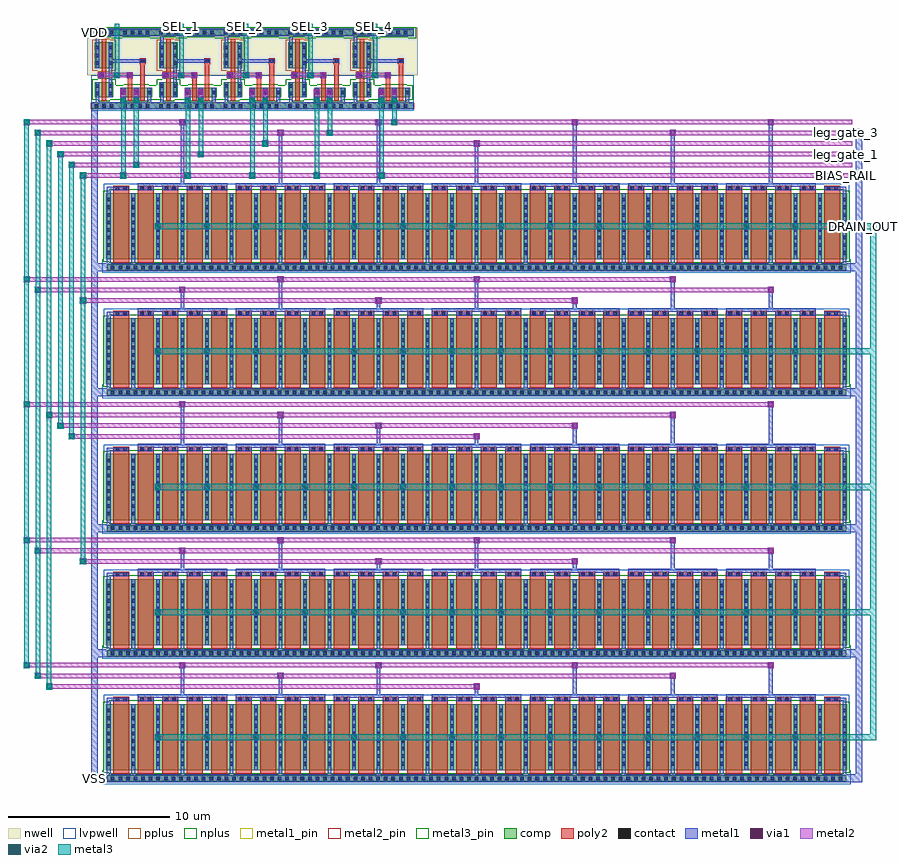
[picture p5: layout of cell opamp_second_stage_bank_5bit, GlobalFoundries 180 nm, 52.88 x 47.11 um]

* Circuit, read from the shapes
.subckt opamp_second_stage_bank_5bit BIAS_RAIL DRAIN_OUT SEL_0 SEL_1 SEL_2 SEL_3 SEL_4 VDD VSS leg_gate_0 leg_gate_1 leg_gate_2 leg_gate_3 leg_gate_4
XM1 switch_nmos_gate_select_4/sel_b SEL_0 VSS VSS nfet_03v3 w=0.95u l=0.28u
XM2 VSS VSS VSS VSS nfet_03v3 w=4.1u l=1u m=10
XM3 leg_gate_0 SEL_0 BIAS_RAIL VSS nfet_03v3 w=0.6u l=0.28u
XM4 DRAIN_OUT leg_gate_4 VSS VSS nfet_03v3 w=4.1u l=1u m=64
XM5 DRAIN_OUT leg_gate_3 VSS VSS nfet_03v3 w=4.1u l=1u m=32
XM6 VSS switch_nmos_gate_select_4/sel_b leg_gate_0 VSS nfet_03v3 w=0.6u l=0.28u
XM7 switch_nmos_gate_select_3/sel_b SEL_1 VSS VSS nfet_03v3 w=0.95u l=0.28u
XM8 leg_gate_1 SEL_1 BIAS_RAIL VSS nfet_03v3 w=0.6u l=0.28u
XM9 VSS switch_nmos_gate_select_3/sel_b leg_gate_1 VSS nfet_03v3 w=0.6u l=0.28u
XM10 switch_nmos_gate_select_2/sel_b SEL_2 VSS VSS nfet_03v3 w=0.95u l=0.28u
XM11 DRAIN_OUT leg_gate_2 VSS VSS nfet_03v3 w=4.1u l=1u m=16
XM12 leg_gate_2 SEL_2 BIAS_RAIL VSS nfet_03v3 w=0.6u l=0.28u
XM13 VSS switch_nmos_gate_select_2/sel_b leg_gate_2 VSS nfet_03v3 w=0.6u l=0.28u
XM14 switch_nmos_gate_select_1/sel_b SEL_3 VSS VSS nfet_03v3 w=0.95u l=0.28u
XM15 leg_gate_3 SEL_3 BIAS_RAIL VSS nfet_03v3 w=0.6u l=0.28u
XM16 DRAIN_OUT BIAS_RAIL VSS VSS nfet_03v3 w=4.1u l=1u m=16
XM17 DRAIN_OUT leg_gate_1 VSS VSS nfet_03v3 w=4.1u l=1u m=8
XM18 VSS switch_nmos_gate_select_1/sel_b leg_gate_3 VSS nfet_03v3 w=0.6u l=0.28u
XM19 switch_nmos_gate_select_0/sel_b SEL_4 VSS VSS nfet_03v3 w=0.95u l=0.28u
XM20 leg_gate_4 SEL_4 BIAS_RAIL VSS nfet_03v3 w=0.6u l=0.28u
XM21 VSS switch_nmos_gate_select_0/sel_b leg_gate_4 VSS nfet_03v3 w=0.6u l=0.28u
XM22 DRAIN_OUT leg_gate_0 VSS VSS nfet_03v3 w=4.1u l=1u m=4
XM23 switch_nmos_gate_select_4/sel_b SEL_0 VDD VDD pfet_03v3 w=1.6u l=0.28u
XM24 switch_nmos_gate_select_3/sel_b SEL_1 VDD VDD pfet_03v3 w=1.6u l=0.28u
XM25 switch_nmos_gate_select_2/sel_b SEL_2 VDD VDD pfet_03v3 w=1.6u l=0.28u
XM26 switch_nmos_gate_select_1/sel_b SEL_3 VDD VDD pfet_03v3 w=1.6u l=0.28u
XM27 switch_nmos_gate_select_0/sel_b SEL_4 VDD VDD pfet_03v3 w=1.6u l=0.28u
.ends

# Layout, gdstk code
import gdstk
lib = gdstk.Library(unit=1e-6, precision=1e-09)
def R(c, l, rs):  # rectangles x0, y0, x1, y1
    for r in rs: c.add(gdstk.rectangle(r[:2], r[2:], *l))
def A(c, l, x, y, w, h, nx, ny, dx, dy):  # array of equal rectangles
    R(c, l, [(x+i*dx, y+j*dy, x+i*dx+w, y+j*dy+h) for i in range(nx) for j in range(ny)])
nwell = (21, 0)
comp = (22, 0)
poly2 = (30, 0)
pplus = (31, 0)
nplus = (32, 0)
contact = (33, 0)
metal1 = (34, 0)
metal1_pin = (34, 10)
via1 = (35, 0)
metal2 = (36, 0)
metal2_pin = (36, 10)
via2 = (38, 0)
metal3 = (42, 0)
metal3_pin = (42, 10)
lvpwell = (204, 0)

logic_inverter_1x = lib.new_cell('logic_inverter_1x')
R(logic_inverter_1x, nwell, [(-0.25,2.13,1.85,5.07)])
R(logic_inverter_1x, comp, [(0,0.05,1.6,0.41), (0.22,0.75,1.38,1.7), (0.22,2.56,1.38,4.16), (0,4.59,1.6,4.95)])
R(logic_inverter_1x, poly2, [(0.66,0.53,0.94,1.95), (0.42,1.95,0.94,2.31), (0.66,2.31,0.94,4.38)])
R(logic_inverter_1x, pplus, [(0.105,0.02,1.495,0.03), (-0.02,0.03,1.62,0.43), (0.105,0.43,1.495,0.44), (0.43,2.33,1.17,2.4), (0.06,2.4,1.54,4.32), (0.43,4.32,1.17,4.39)])
R(logic_inverter_1x, nplus, [(0.43,0.52,1.17,0.59), (0.06,0.59,1.54,1.86), (0.43,1.86,1.17,1.93), (-0.16,4.43,0.34,4.48), (1.26,4.43,1.76,4.48), (-0.16,4.48,1.76,5.11)])
A(logic_inverter_1x, contact, 0.22, 0.12, 0.22, 0.22, 3, 2, 0.47, 4.54)
A(logic_inverter_1x, contact, 0.29, 2.78, 0.22, 0.22, 1, 3, 0, 0.47)
A(logic_inverter_1x, contact, 1.09, 2.78, 0.22, 0.22, 1, 3, 0, 0.47)
R(logic_inverter_1x, contact, [(0.29,0.88,0.51,1.1), (1.09,0.88,1.31,1.1), (0.29,1.35,0.51,1.57), (1.09,1.35,1.31,1.57), (0.49,2.02,0.71,2.24)])
R(logic_inverter_1x, metal1, [(0,0,1.6,0.46), (0.285,0.46,0.515,1.69), (1.085,0.76,1.315,4.15), (0.42,1.94,0.8,2.32), (0.285,2.57,0.515,4.54), (0,4.54,1.6,5)])
R(logic_inverter_1x, metal1_pin, [(0,0,1.6,0.46), (1.085,1.93,1.315,2.33), (0.42,1.94,0.8,2.32), (0,4.54,1.6,5)])
R(logic_inverter_1x, lvpwell, [(0,-0.07,1.6,2.13)])
logic_inverter_1x.add(gdstk.Label('VSS', (0.8,0.23), layer=34, texttype=10))
logic_inverter_1x.add(gdstk.Label('VDD', (0.8,4.77), layer=34, texttype=10))
logic_inverter_1x.add(gdstk.Label('OUT', (1.2,2.13), layer=34, texttype=10))
logic_inverter_1x.add(gdstk.Label('IN', (0.61,2.13), layer=34, texttype=10))

switch_nmos_gate_select = lib.new_cell('switch_nmos_gate_select')
R(switch_nmos_gate_select, nwell, [(1.35,2.13,4.25,5.07)])
R(switch_nmos_gate_select, comp, [(1.6,0.05,4,0.41), (1.82,0.75,3.78,1.35), (1.6,4.59,4,4.95)])
R(switch_nmos_gate_select, poly2, [(2.26,0.53,2.54,1.95), (3.06,0.53,3.34,2.82), (2.22,1.95,2.58,2.31), (3.02,2.82,3.38,3.18)])
R(switch_nmos_gate_select, pplus, [(1.495,0.02,3.895,0.03), (1.58,0.03,4.02,0.43), (1.495,0.43,3.895,0.44)])
R(switch_nmos_gate_select, nplus, [(2.03,0.52,3.57,0.59), (1.54,0.59,3.94,1.51), (2.03,1.51,3.57,1.58), (1.44,4.43,1.94,4.48), (3.66,4.43,4.16,4.48), (1.44,4.48,4.16,5.11)])
A(switch_nmos_gate_select, contact, 1.985, 0.12, 0.22, 0.22, 4, 2, 0.47, 4.54)
A(switch_nmos_gate_select, contact, 1.89, 0.94, 0.22, 0.22, 3, 1, 0.8, 0)
R(switch_nmos_gate_select, contact, [(2.29,2.02,2.51,2.24), (3.09,2.89,3.31,3.11)])
R(switch_nmos_gate_select, metal1, [(1.6,0,4,0.46), (3.485,0.46,3.715,1.34), (1.885,0.76,2.115,0.86), (2.685,0.76,2.915,0.86), (1.81,0.86,2.19,1.24), (2.61,0.86,2.99,1.24), (1.885,1.24,2.115,1.34), (2.685,1.24,2.915,1.34), (0.42,1.94,0.8,2.32), (2.21,1.94,2.59,2.32), (1.085,2.885,3.37,3.115), (1.6,4.54,4,5)])
R(switch_nmos_gate_select, metal1_pin, [(1.6,0,1.8,0.46), (1.6,4.54,1.8,5)])
R(switch_nmos_gate_select, via1, [(1.87,0.92,2.13,1.18), (2.67,0.92,2.93,1.18), (0.48,2,0.74,2.26), (2.27,2,2.53,2.26)])
R(switch_nmos_gate_select, metal2, [(1.81,0.36,2.19,1.24), (2.61,0.36,2.99,1.24), (0.42,1.94,0.8,1.99), (1.41,1.94,1.79,1.99), (2.21,1.94,2.59,1.99), (0.42,1.99,2.59,2.27), (0.42,2.27,0.8,2.32), (1.41,2.27,1.79,2.32), (2.21,2.27,2.59,2.32)])
R(switch_nmos_gate_select, via2, [(1.87,0.42,2.13,0.68), (2.67,0.42,2.93,0.68), (1.47,2,1.73,2.26)])
R(switch_nmos_gate_select, metal3, [(1.81,0.36,2.19,0.74), (2.61,0.36,2.99,0.74), (1.41,1.94,1.79,2.32)])
R(switch_nmos_gate_select, metal3_pin, [(1.81,0.36,2.19,0.74), (2.61,0.36,2.99,0.74), (1.41,1.94,1.79,2.32)])
R(switch_nmos_gate_select, lvpwell, [(1.6,-0.07,4,2.13)])
switch_nmos_gate_select.add(gdstk.Reference(logic_inverter_1x, (0,0)))
switch_nmos_gate_select.add(gdstk.Label('sel_b', (2.4,3), layer=34, texttype=0))
switch_nmos_gate_select.add(gdstk.Label('VSS', (1.7,0.23), layer=34, texttype=10))
switch_nmos_gate_select.add(gdstk.Label('VDD', (1.7,4.77), layer=34, texttype=10))
switch_nmos_gate_select.add(gdstk.Label('SEL', (1.6,2.13), layer=42, texttype=10))
switch_nmos_gate_select.add(gdstk.Label('LEG_GATE', (2.8,0.55), layer=42, texttype=10))
switch_nmos_gate_select.add(gdstk.Label('BIAS_RAIL', (2,0.55), layer=42, texttype=10))

nfet_03v3_7makus = lib.new_cell('nfet_03v3_7MAKUS')
R(nfet_03v3_7makus, comp, [(-22.98,-2.17,22.98,1.93)])
A(nfet_03v3_7makus, poly2, -22.54, -2.39, 1, 4.78, 30, 1, 1.52, 0)
R(nfet_03v3_7makus, nplus, [(-22.77,-2.4,22.77,-2.33), (-23.14,-2.33,23.14,2.09), (-22.77,2.09,22.77,2.16)])
A(nfet_03v3_7makus, contact, -22.91, -1.875, 0.22, 0.22, 31, 8, 1.52, 0.47)
R(nfet_03v3_7makus, contact, [(-22.385,2.1,-22.165,2.32), (-21.915,2.1,-21.695,2.32), (-20.865,2.1,-20.645,2.32), (-20.395,2.1,-20.175,2.32), (-19.345,2.1,-19.125,2.32), (-18.875,2.1,-18.655,2.32), (-17.825,2.1,-17.605,2.32), (-17.355,2.1,-17.135,2.32), (-16.305,2.1,-16.085,2.32), (-15.835,2.1,-15.615,2.32), (-14.785,2.1,-14.565,2.32), (-14.315,2.1,-14.095,2.32), (-13.265,2.1,-13.045,2.32), (-12.795,2.1,-12.575,2.32), (-11.745,2.1,-11.525,2.32), (-11.275,2.1,-11.055,2.32), (-10.225,2.1,-10.005,2.32), (-9.755,2.1,-9.535,2.32), (-8.705,2.1,-8.485,2.32), (-8.235,2.1,-8.015,2.32), (-7.185,2.1,-6.965,2.32), (-6.715,2.1,-6.495,2.32), (-5.665,2.1,-5.445,2.32), (-5.195,2.1,-4.975,2.32), (-4.145,2.1,-3.925,2.32), (-3.675,2.1,-3.455,2.32), (-2.625,2.1,-2.405,2.32), (-2.155,2.1,-1.935,2.32), (-1.105,2.1,-0.885,2.32), (-0.635,2.1,-0.415,2.32), (0.415,2.1,0.635,2.32), (0.885,2.1,1.105,2.32), (1.935,2.1,2.155,2.32), (2.405,2.1,2.625,2.32), (3.455,2.1,3.675,2.32), (3.925,2.1,4.145,2.32), (4.975,2.1,5.195,2.32), (5.445,2.1,5.665,2.32), (6.495,2.1,6.715,2.32), (6.965,2.1,7.185,2.32), (8.015,2.1,8.235,2.32), (8.485,2.1,8.705,2.32), (9.535,2.1,9.755,2.32), (10.005,2.1,10.225,2.32), (11.055,2.1,11.275,2.32), (11.525,2.1,11.745,2.32), (12.575,2.1,12.795,2.32), (13.045,2.1,13.265,2.32), (14.095,2.1,14.315,2.32), (14.565,2.1,14.785,2.32), (15.615,2.1,15.835,2.32), (16.085,2.1,16.305,2.32), (17.135,2.1,17.355,2.32), (17.605,2.1,17.825,2.32), (18.655,2.1,18.875,2.32), (19.125,2.1,19.345,2.32), (20.175,2.1,20.395,2.32), (20.645,2.1,20.865,2.32), (21.695,2.1,21.915,2.32), (22.165,2.1,22.385,2.32)])
A(nfet_03v3_7makus, metal1, -22.915, -2.16, 0.23, 4.08, 31, 1, 1.52, 0)
A(nfet_03v3_7makus, metal1, -22.53, 2.095, 0.98, 0.23, 30, 1, 1.52, 0)
R(nfet_03v3_7makus, lvpwell, [(-23.1,-2.51,23.1,2.51)])

opamp_second_stage_bank_ = lib.new_cell('opamp_second_stage_bank_5bit')
A(opamp_second_stage_bank_, comp, 0.2, 0.07, 45.8, 0.36, 1, 3, 0, 7.755)
R(opamp_second_stage_bank_, comp, [(0.2,23.995,46,24.355), (0.2,31.75,46,32.11)])
A(opamp_second_stage_bank_, pplus, 0.18, 0.05, 45.84, 0.4, 1, 3, 0, 7.755)
A(opamp_second_stage_bank_, pplus, 3.095, 41.735, 0.21, 0.01, 4, 2, 4, 0.41)
R(opamp_second_stage_bank_, pplus, [(0.255,0.04,45.945,0.05), (0.255,0.45,45.945,0.46), (0.255,7.795,45.945,7.805), (0.255,8.205,45.945,8.215), (0.255,15.55,45.945,15.56), (0.255,15.96,45.945,15.97), (0.255,23.965,45.945,23.975), (0.18,23.975,46.02,24.375), (0.255,24.375,45.945,24.385), (0.255,31.72,45.945,31.73), (0.18,31.73,46.02,32.13), (0.255,32.13,45.945,32.14)])
A(opamp_second_stage_bank_, nplus, 3.14, 42.305, 0.12, 0.92, 4, 1, 4, 0)
A(opamp_second_stage_bank_, contact, 0.43, 0.14, 0.22, 0.22, 97, 3, 0.47, 7.755)
A(opamp_second_stage_bank_, contact, 0.43, 24.065, 0.22, 0.22, 97, 2, 0.47, 7.755)
A(opamp_second_stage_bank_, metal1, -0.8, 0, 47.8, 0.5, 1, 3, 0, 7.755)
A(opamp_second_stage_bank_, metal1, 0.185, 0.5, 0.23, 0.31, 1, 3, 0, 7.755)
A(opamp_second_stage_bank_, metal1, 1.705, 0.5, 0.23, 0.31, 15, 3, 3.04, 7.755)
A(opamp_second_stage_bank_, metal1, 45.785, 0.5, 0.23, 0.31, 1, 3, 0, 7.755)
A(opamp_second_stage_bank_, metal1, 3.15, 2.61, 0.38, 0.38, 14, 3, 3.04, 7.755)
A(opamp_second_stage_bank_, metal1, 0.185, 4.79, 0.23, 0.225, 1, 3, 0, 7.755)
A(opamp_second_stage_bank_, metal1, 45.785, 4.79, 0.23, 0.225, 1, 3, 0, 7.755)
A(opamp_second_stage_bank_, metal1, 0.185, 5.015, 1.365, 0.23, 1, 3, 0, 7.755)
A(opamp_second_stage_bank_, metal1, 44.65, 5.015, 1.365, 0.23, 1, 3, 0, 7.755)
A(opamp_second_stage_bank_, metal1, 2.09, 5.245, 5.54, 0.23, 7, 3, 6.08, 7.755)
A(opamp_second_stage_bank_, metal1, 4.745, 5.475, 0.23, 1.6, 4, 1, 12.16, 0)
A(opamp_second_stage_bank_, metal1, 4.67, 7.075, 0.38, 0.38, 4, 2, 12.16, 33.66)
A(opamp_second_stage_bank_, metal1, 10.825, 13.23, 0.23, 1.6, 3, 2, 12.16, 16.17)
A(opamp_second_stage_bank_, metal1, 10.75, 14.83, 0.38, 0.38, 3, 2, 12.16, 16.17)
A(opamp_second_stage_bank_, metal1, 1.705, 24.425, 0.23, 0.31, 15, 2, 3.04, 7.755)
A(opamp_second_stage_bank_, metal1, 3.15, 26.535, 0.38, 0.38, 14, 2, 3.04, 7.755)
A(opamp_second_stage_bank_, metal1, 2.09, 29.17, 5.54, 0.23, 7, 2, 6.08, 7.755)
A(opamp_second_stage_bank_, metal1, 4.745, 37.155, 0.23, 3.58, 4, 1, 12.16, 0)
R(opamp_second_stage_bank_, metal1, [(-0.8,0.5,-0.4,7.755), (46.6,0.5,47,7.755), (10.825,5.475,11.055,6.415), (22.985,5.475,23.215,5.755), (35.145,5.475,35.375,6.415), (22.91,5.755,23.29,6.135), (10.75,6.415,11.13,6.795), (35.07,6.415,35.45,6.795), (-0.8,8.255,-0.4,15.51), (46.6,8.255,47,15.51), (4.745,13.23,4.975,14.17), (16.905,13.23,17.135,13.51), (29.065,13.23,29.295,13.51), (41.225,13.23,41.455,14.17), (16.83,13.51,17.21,13.89), (28.99,13.51,29.37,13.89), (4.67,14.17,5.05,14.55), (41.15,14.17,41.53,14.55), (-0.8,16.01,-0.4,23.925), (46.6,16.01,47,23.925), (4.745,20.985,4.975,23.245), (10.825,20.985,11.055,22.585), (16.905,20.985,17.135,21.925), (22.985,20.985,23.215,21.265), (29.065,20.985,29.295,21.925), (35.145,20.985,35.375,22.585), (41.225,20.985,41.455,23.245), (22.91,21.265,23.29,21.645), (16.83,21.925,17.21,22.305), (28.99,21.925,29.37,22.305), (10.75,22.585,11.13,22.965), (35.07,22.585,35.45,22.965), (4.67,23.245,5.05,23.625), (41.15,23.245,41.53,23.625), (-0.8,23.925,47,24.425), (-0.8,24.425,-0.4,31.68), (0.185,24.425,0.415,24.735), (45.785,24.425,46.015,24.735), (46.6,24.425,47,31.68), (0.185,28.715,0.415,28.94), (45.785,28.715,46.015,28.94), (0.185,28.94,1.55,29.17), (44.65,28.94,46.015,29.17), (4.745,29.4,4.975,30.34), (16.905,29.4,17.135,29.68), (29.065,29.4,29.295,29.68), (41.225,29.4,41.455,30.34), (16.83,29.68,17.21,30.06), (28.99,29.68,29.37,30.06), (4.67,30.34,5.05,30.72), (41.15,30.34,41.53,30.72), (-0.8,31.68,47,32.18), (-0.8,32.18,-0.4,42.175), (0.185,32.18,0.415,32.49), (45.785,32.18,46.015,32.49), (46.6,32.18,47,40.525), (0.185,36.47,0.415,36.695), (45.785,36.47,46.015,36.695), (0.185,36.695,1.55,36.925), (44.65,36.695,46.015,36.925), (10.825,37.155,11.055,40.075), (22.985,37.155,23.215,39.415), (35.145,37.155,35.375,40.075), (22.91,39.415,23.29,39.795), (10.75,40.075,11.13,40.455), (35.07,40.075,35.45,40.455), (-0.8,46.255,19.2,46.715)])
R(opamp_second_stage_bank_, metal1_pin, [(-0.8,0,-0.4,0.5), (-0.8,46.255,-0.34,46.715)])
A(opamp_second_stage_bank_, via1, 3.21, 2.67, 0.26, 0.26, 14, 3, 3.04, 7.755)
A(opamp_second_stage_bank_, via1, 4.73, 7.135, 0.26, 0.26, 4, 2, 12.16, 33.66)
A(opamp_second_stage_bank_, via1, 10.81, 14.89, 0.26, 0.26, 3, 2, 12.16, 16.17)
A(opamp_second_stage_bank_, via1, 3.21, 26.595, 0.26, 0.26, 14, 2, 3.04, 7.755)
R(opamp_second_stage_bank_, via1, [(22.97,5.815,23.23,6.075), (10.81,6.475,11.07,6.735), (35.13,6.475,35.39,6.735), (16.89,13.57,17.15,13.83), (29.05,13.57,29.31,13.83), (4.73,14.23,4.99,14.49), (41.21,14.23,41.47,14.49), (22.97,21.325,23.23,21.585), (16.89,21.985,17.15,22.245), (29.05,21.985,29.31,22.245), (10.81,22.645,11.07,22.905), (35.13,22.645,35.39,22.905), (4.73,23.305,4.99,23.565), (41.21,23.305,41.47,23.565), (16.89,29.74,17.15,30), (29.05,29.74,29.31,30), (4.73,30.4,4.99,30.66), (41.21,30.4,41.47,30.66), (22.97,39.475,23.23,39.735), (10.81,40.135,11.07,40.395), (35.13,40.135,35.39,40.395)])
A(opamp_second_stage_bank_, metal2, 3.15, 2.61, 0.38, 0.38, 14, 3, 3.04, 7.755)
A(opamp_second_stage_bank_, metal2, 4.67, 7.075, 0.38, 0.05, 4, 2, 12.16, 0.33)
A(opamp_second_stage_bank_, metal2, 10.75, 14.83, 0.38, 0.05, 3, 2, 12.16, 0.33)
A(opamp_second_stage_bank_, metal2, 3.15, 26.535, 0.38, 0.38, 14, 2, 3.04, 7.755)
A(opamp_second_stage_bank_, metal2, 10.75, 31, 0.38, 0.05, 3, 2, 12.16, 0.33)
A(opamp_second_stage_bank_, metal2, 1.01, 37.435, 0.38, 0.05, 5, 2, 4, 0.33)
R(opamp_second_stage_bank_, metal2, [(-3.59,5.755,-3.21,5.805), (22.91,5.755,23.29,5.805), (-3.59,5.805,23.29,6.085), (-3.59,6.085,-3.21,6.135), (22.91,6.085,23.29,6.135), (-4.29,6.415,-3.91,6.465), (10.75,6.415,11.13,6.465), (35.07,6.415,35.45,6.465), (-4.29,6.465,35.45,6.745), (-4.29,6.745,-3.91,6.795), (10.75,6.745,11.13,6.795), (35.07,6.745,35.45,6.795), (-4.99,7.075,-4.61,7.125), (-4.99,7.125,41.53,7.405), (-4.99,7.405,-4.61,7.455), (-1.49,13.51,-1.11,13.56), (16.83,13.51,17.21,13.56), (28.99,13.51,29.37,13.56), (-1.49,13.56,29.37,13.84), (-1.49,13.84,-1.11,13.89), (16.83,13.84,17.21,13.89), (28.99,13.84,29.37,13.89), (-4.29,14.17,-3.91,14.22), (4.67,14.17,5.05,14.22), (41.15,14.17,41.53,14.22), (-4.29,14.22,41.53,14.5), (-4.29,14.5,-3.91,14.55), (4.67,14.5,5.05,14.55), (41.15,14.5,41.53,14.55), (-4.99,14.83,-4.61,14.88), (-4.99,14.88,35.45,15.16), (-4.99,15.16,-4.61,15.21), (-2.19,21.265,-1.81,21.315), (22.91,21.265,23.29,21.315), (-2.19,21.315,23.29,21.595), (-2.19,21.595,-1.81,21.645), (22.91,21.595,23.29,21.645), (-2.89,21.925,-2.51,21.975), (16.83,21.925,17.21,21.975), (28.99,21.925,29.37,21.975), (-2.89,21.975,29.37,22.255), (-2.89,22.255,-2.51,22.305), (16.83,22.255,17.21,22.305), (28.99,22.255,29.37,22.305), (-3.59,22.585,-3.21,22.635), (10.75,22.585,11.13,22.635), (35.07,22.585,35.45,22.635), (-3.59,22.635,35.45,22.915), (-3.59,22.915,-3.21,22.965), (10.75,22.915,11.13,22.965), (35.07,22.915,35.45,22.965), (-4.99,23.245,-4.61,23.295), (4.67,23.245,5.05,23.295), (41.15,23.245,41.53,23.295), (-4.99,23.295,41.53,23.575), (-4.99,23.575,-4.61,23.625), (4.67,23.575,5.05,23.625), (41.15,23.575,41.53,23.625), (-1.49,29.68,-1.11,29.73), (16.83,29.68,17.21,29.73), (28.99,29.68,29.37,29.73), (-1.49,29.73,29.37,30.01), (-1.49,30.01,-1.11,30.06), (16.83,30.01,17.21,30.06), (28.99,30.01,29.37,30.06), (-4.29,30.34,-3.91,30.39), (4.67,30.34,5.05,30.39), (41.15,30.34,41.53,30.39), (-4.29,30.39,41.53,30.67), (-4.29,30.67,-3.91,30.72), (4.67,30.67,5.05,30.72), (41.15,30.67,41.53,30.72), (-4.99,31,-4.61,31.05), (-4.99,31.05,35.45,31.33), (-4.99,31.33,-4.61,31.38), (-1.49,37.435,-1.11,37.485), (-1.49,37.485,46.39,37.765), (-1.49,37.765,-1.11,37.815), (-2.19,38.095,-1.81,38.145), (1.81,38.095,2.19,38.145), (-2.19,38.145,46.39,38.425), (-2.19,38.425,-1.81,38.475), (1.81,38.425,2.19,38.475), (-2.89,38.755,-2.51,38.805), (5.81,38.755,6.19,38.805), (-2.89,38.805,46.39,39.085), (-2.89,39.085,-2.51,39.135), (5.81,39.085,6.19,39.135), (-3.59,39.415,-3.21,39.465), (9.81,39.415,10.19,39.465), (22.91,39.415,23.29,39.465), (-3.59,39.465,46.39,39.745), (-3.59,39.745,-3.21,39.795), (9.81,39.745,10.19,39.795), (22.91,39.745,23.29,39.795), (-4.29,40.075,-3.91,40.125), (10.75,40.075,11.13,40.125), (13.81,40.075,14.19,40.125), (35.07,40.075,35.45,40.125), (-4.29,40.125,46.39,40.405), (-4.29,40.405,-3.91,40.455), (10.75,40.405,11.13,40.455), (13.81,40.405,14.19,40.455), (35.07,40.405,35.45,40.455), (-4.99,40.735,-4.61,40.785), (4.67,40.735,5.05,40.785), (16.83,40.735,17.21,40.785), (17.81,40.735,18.19,40.785), (28.99,40.735,29.37,40.785), (41.15,40.735,41.53,40.785), (-4.99,40.785,46.39,41.065), (-4.99,41.065,-4.61,41.115), (4.67,41.065,5.05,41.115), (16.83,41.065,17.21,41.115), (17.81,41.065,18.19,41.115), (28.99,41.065,29.37,41.115), (41.15,41.065,41.53,41.115)])
R(opamp_second_stage_bank_, metal2_pin, [(45.82,37.485,46.2,37.765)])
A(opamp_second_stage_bank_, via2, 3.21, 2.67, 0.26, 0.26, 14, 3, 3.04, 7.755)
A(opamp_second_stage_bank_, via2, -3.53, 5.815, 0.26, 0.26, 1, 3, 0, 16.83)
A(opamp_second_stage_bank_, via2, 3.21, 26.595, 0.26, 0.26, 14, 2, 3.04, 7.755)
A(opamp_second_stage_bank_, via2, 1.07, 37.495, 0.26, 0.26, 5, 1, 4, 0)
R(opamp_second_stage_bank_, via2, [(-4.23,6.475,-3.97,6.735), (-4.93,7.135,-4.67,7.395), (-1.43,13.57,-1.17,13.83), (-4.23,14.23,-3.97,14.49), (-4.93,14.89,-4.67,15.15), (-2.13,21.325,-1.87,21.585), (-2.83,21.985,-2.57,22.245), (-4.93,23.305,-4.67,23.565), (-1.43,29.74,-1.17,30), (-4.23,30.4,-3.97,30.66), (-4.93,31.06,-4.67,31.32), (-1.43,37.495,-1.17,37.755), (-2.13,38.155,-1.87,38.415), (1.87,38.155,2.13,38.415), (-2.83,38.815,-2.57,39.075), (5.87,38.815,6.13,39.075), (9.87,39.475,10.13,39.735), (-4.23,40.135,-3.97,40.395), (13.87,40.135,14.13,40.395), (-4.93,40.795,-4.67,41.055), (17.87,40.795,18.13,41.055)])
A(opamp_second_stage_bank_, metal3, 3.15, 2.61, 44.74, 0.38, 1, 3, 0, 7.755)
A(opamp_second_stage_bank_, metal3, -3.59, 5.755, 0.38, 0.38, 1, 3, 0, 16.83)
A(opamp_second_stage_bank_, metal3, 1.01, 37.435, 0.38, 0.38, 5, 1, 4, 0)
A(opamp_second_stage_bank_, metal3, 1.06, 37.815, 0.28, 4.45, 5, 1, 4, 0)
A(opamp_second_stage_bank_, metal3, 0.66, 43.845, 0.28, 3.17, 5, 1, 4, 0)
R(opamp_second_stage_bank_, metal3, [(47.51,2.99,47.89,10.365), (-3.54,6.135,-3.26,22.585), (-4.29,6.415,-3.91,6.795), (-4.24,6.795,-3.96,14.17), (-4.99,7.075,-4.61,7.455), (-4.94,7.455,-4.66,14.83), (47.51,10.745,47.89,18.12), (-1.49,13.51,-1.11,13.89), (-1.44,13.89,-1.16,29.68), (-4.29,14.17,-3.91,14.55), (-4.24,14.55,-3.96,30.34), (-4.99,14.83,-4.61,15.21), (-4.94,15.21,-4.66,23.245), (47.51,18.5,47.89,26.535), (-2.19,21.265,-1.81,21.645), (-2.14,21.645,-1.86,38.095), (-2.89,21.925,-2.51,22.305), (-2.84,22.305,-2.56,38.755), (-3.54,22.965,-3.26,39.415), (-4.99,23.245,-4.61,23.625), (-4.94,23.625,-4.66,31), (3.15,26.535,47.89,26.915), (47.51,26.915,47.89,34.29), (-1.49,29.68,-1.11,30.06), (-1.44,30.06,-1.16,37.435), (-4.29,30.34,-3.91,30.72), (-4.24,30.72,-3.96,40.075), (-4.99,31,-4.61,31.38), (-4.94,31.38,-4.66,40.735), (3.15,34.29,47.89,34.67), (-1.49,37.435,-1.11,37.815), (-2.19,38.095,-1.81,38.475), (1.81,38.095,2.19,38.475), (1.86,38.475,2.14,42.265), (-2.89,38.755,-2.51,39.135), (5.81,38.755,6.19,39.135), (5.86,39.135,6.14,42.265), (9.81,39.415,10.19,39.795), (9.86,39.795,10.14,42.265), (-4.29,40.075,-3.91,40.455), (13.81,40.075,14.19,40.455), (13.86,40.455,14.14,42.265), (-4.99,40.735,-4.61,41.115), (17.81,40.735,18.19,41.115), (17.86,41.115,18.14,42.265)])
A(opamp_second_stage_bank_, metal3_pin, 0.66, 46.715, 0.28, 0.3, 5, 1, 4, 0)
R(opamp_second_stage_bank_, metal3_pin, [(47.51,34.29,47.89,34.67)])
A(opamp_second_stage_bank_, lvpwell, -0.1, -0.1, 46.4, 0.85, 1, 3, 0, 7.755)
R(opamp_second_stage_bank_, lvpwell, [(-0.1,23.825,46.3,24.675), (-0.1,31.58,46.3,32.43)])
opamp_second_stage_bank_.add(gdstk.Reference(switch_nmos_gate_select, (15.2,41.715)))
opamp_second_stage_bank_.add(gdstk.Reference(switch_nmos_gate_select, (11.2,41.715)))
opamp_second_stage_bank_.add(gdstk.Reference(switch_nmos_gate_select, (7.2,41.715)))
opamp_second_stage_bank_.add(gdstk.Reference(switch_nmos_gate_select, (3.2,41.715)))
opamp_second_stage_bank_.add(gdstk.Reference(switch_nmos_gate_select, (-0.8,41.715)))
opamp_second_stage_bank_.add(gdstk.Reference(nfet_03v3_7makus, (23.1,34.6)))
opamp_second_stage_bank_.add(gdstk.Reference(nfet_03v3_7makus, (23.1,26.845)))
opamp_second_stage_bank_.add(gdstk.Reference(nfet_03v3_7makus, (23.1,18.43)))
opamp_second_stage_bank_.add(gdstk.Reference(nfet_03v3_7makus, (23.1,10.675)))
opamp_second_stage_bank_.add(gdstk.Reference(nfet_03v3_7makus, (23.1,2.92)))
opamp_second_stage_bank_.add(gdstk.Label('VSS', (-0.6,0.25), layer=34, texttype=10))
opamp_second_stage_bank_.add(gdstk.Label('VDD', (-0.57,46.485), layer=34, texttype=10))
opamp_second_stage_bank_.add(gdstk.Label('leg_gate_3', (46,40.265), layer=36, texttype=0))
opamp_second_stage_bank_.add(gdstk.Label('leg_gate_2', (46,39.605), layer=36, texttype=0))
opamp_second_stage_bank_.add(gdstk.Label('leg_gate_4', (46,40.925), layer=36, texttype=0))
opamp_second_stage_bank_.add(gdstk.Label('leg_gate_1', (46,38.945), layer=36, texttype=0))
opamp_second_stage_bank_.add(gdstk.Label('leg_gate_0', (46,38.285), layer=36, texttype=0))
opamp_second_stage_bank_.add(gdstk.Label('BIAS_RAIL', (46.01,37.625), layer=36, texttype=10))
opamp_second_stage_bank_.add(gdstk.Label('SEL_4', (16.8,46.865), layer=42, texttype=10))
opamp_second_stage_bank_.add(gdstk.Label('SEL_3', (12.8,46.865), layer=42, texttype=10))
opamp_second_stage_bank_.add(gdstk.Label('SEL_2', (8.8,46.865), layer=42, texttype=10))
opamp_second_stage_bank_.add(gdstk.Label('SEL_1', (4.8,46.865), layer=42, texttype=10))
opamp_second_stage_bank_.add(gdstk.Label('DRAIN_OUT', (47.7,34.48), layer=42, texttype=10))
opamp_second_stage_bank_.add(gdstk.Label('SEL_0', (0.8,46.865), layer=42, texttype=10))

lib.write_gds('opamp_second_stage_bank_5bit.gds')
